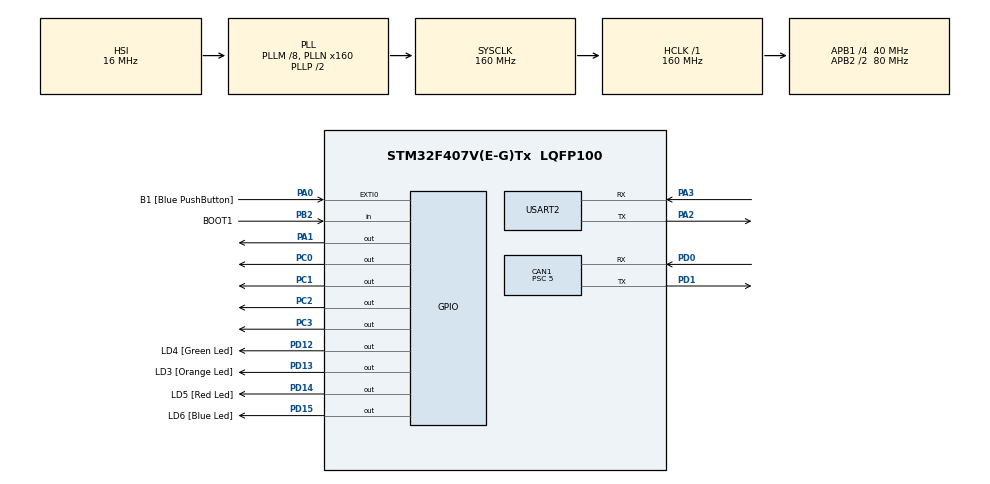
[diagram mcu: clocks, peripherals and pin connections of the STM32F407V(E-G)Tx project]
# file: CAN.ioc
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CAN1.ABOM=ENABLE
CAN1.BS1=CAN_BS1_13TQ
CAN1.BS2=CAN_BS2_2TQ
CAN1.CalculateBaudRate=500000
CAN1.CalculateTimeBit=2000
CAN1.CalculateTimeQuantum=125.0
CAN1.Prescaler=5
CAN1.TXFP=ENABLE
Mcu.Family=STM32F4
Mcu.Name=STM32F407V(E-G)Tx
Mcu.Package=LQFP100
NVIC.CAN1_RX0_IRQn=true\:0\:0\:false\:false\:true\:true\:true\:true
NVIC.PriorityGroup=NVIC_PRIORITYGROUP_0
NVIC.USART2_IRQn=true\:0\:0\:false\:false\:true\:true\:true\:true
PA0-WKUP.GPIO_Label=B1 [Blue PushButton]
PA0-WKUP.GPIO_ModeDefaultEXTI=GPIO_MODE_EVT_RISING
PA0-WKUP.GPIO_PuPd=GPIO_NOPULL
PA0-WKUP.Signal=GPXTI0
PA1.Signal=GPIO_Output
PA13.GPIO_Label=SWDIO
PA13.Mode=Serial_Wire
PA13.Signal=SYS_JTMS-SWDIO
PA14.GPIO_Label=SWCLK
PA14.Mode=Serial_Wire
PA14.Signal=SYS_JTCK-SWCLK
PA2.Mode=Asynchronous
PA2.Signal=USART2_TX
PA3.Mode=Asynchronous
PA3.Signal=USART2_RX
PB2.GPIO_Label=BOOT1
PB2.GPIO_Mode=GPIO_MODE_INPUT
PB2.GPIO_PuPd=GPIO_NOPULL
PB2.Signal=GPIO_Input
PC0.Signal=GPIO_Output
PC1.Signal=GPIO_Output
PC2.Signal=GPIO_Output
PC3.Signal=GPIO_Output
PD0.Mode=CAN_Activate
PD0.Signal=CAN1_RX
PD1.Mode=CAN_Activate
PD1.Signal=CAN1_TX
PD12.GPIO_Label=LD4 [Green Led]
PD12.GPIO_PuPd=GPIO_NOPULL
PD12.GPIO_Speed=GPIO_SPEED_FREQ_LOW
PD12.Signal=GPIO_Output
PD13.GPIO_Label=LD3 [Orange Led]
PD13.GPIO_PuPd=GPIO_NOPULL
PD13.GPIO_Speed=GPIO_SPEED_FREQ_LOW
PD13.Signal=GPIO_Output
PD14.GPIO_Label=LD5 [Red Led]
PD14.GPIO_PuPd=GPIO_NOPULL
PD14.GPIO_Speed=GPIO_SPEED_FREQ_LOW
PD14.Signal=GPIO_Output
PD15.GPIO_Label=LD6 [Blue Led]
PD15.GPIO_PuPd=GPIO_NOPULL
PD15.GPIO_Speed=GPIO_SPEED_FREQ_LOW
PD15.Signal=GPIO_Output
ProjectManager.HeapSize=0x2000
ProjectManager.StackSize=0x4000
ProjectManager.TargetToolchain=CMake
RCC.48MHZClocksFreq_Value=45714285.71428572
RCC.AHBFreq_Value=160000000
RCC.APB1CLKDivider=RCC_HCLK_DIV4
RCC.APB1Freq_Value=40000000
RCC.APB1TimFreq_Value=80000000
RCC.APB2CLKDivider=RCC_HCLK_DIV2
RCC.APB2Freq_Value=80000000
RCC.APB2TimFreq_Value=160000000
RCC.CortexFreq_Value=160000000
RCC.HCLKFreq_Value=160000000
RCC.HSE_VALUE=8000000
RCC.HSI_VALUE=16000000
RCC.LSE_VALUE=32768
RCC.PLLM=8
RCC.PLLN=160
RCC.PLLQ=7
RCC.SYSCLKFreq_VALUE=160000000
RCC.SYSCLKSource=RCC_SYSCLKSOURCE_PLLCLK
RCC.VCOOutputFreq_Value=320000000
USART2.VirtualMode=VM_ASYNC
board=STM32F407G-DISC1

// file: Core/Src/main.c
/* USER CODE BEGIN Header */
/**
  ******************************************************************************
  * @file           : main.c
  * @brief          : Main program body
  ******************************************************************************
  * @attention
  *
  * Copyright (c) 2025 STMicroelectronics.
  * All rights reserved.
  *
  * This software is licensed under terms that can be found in the LICENSE file
  * in the root directory of this software component.
  * If no LICENSE file comes with this software, it is provided AS-IS.
  *
  ******************************************************************************
  */
/* USER CODE END Header */
#include "main.h"

/* USER CODE BEGIN Includes */
#include "cli.h"
#include "vesc.h"
/* USER CODE END Includes */

/* USER CODE BEGIN PTD */
#define R 340

#define HeadLight 0
#define Stop 1
#define Reverse 2
#define Buzzer 3
#define Mayak 4

/* USER CODE END PTD */

CAN_HandleTypeDef hcan1;

UART_HandleTypeDef huart2;

void SystemClock_Config(void);
static void MX_GPIO_Init(void);
static void MX_CAN1_Init(void);
static void MX_USART2_UART_Init(void);
/* USER CODE BEGIN PFP */
/*---------------------- Init CAN-----------------------*/

CAN_TxHeaderTypeDef TxHeader;
CAN_RxHeaderTypeDef RxHeader;

uint8_t TxBufCan[8];
uint8_t RxBufCan[16];
uint32_t TxMailbox = 0;

CAN_FilterTypeDef  sFilterConfig;

/*-----------------------------*/
CliType cli;
QueryType query;
uint8_t DataInput[256];
uint8_t DataOutput[256];
uint8_t DataInUart;//переменная для приема байта по UART

uint8_t Transmit(uint8_t* Data, uint8_t len) {
  HAL_UART_Transmit(&huart2, Data, len, len*5);
}

CmdType cmd[] = {{"hello", HelloWorld}
                ,{"set_vesc_id", SetVescID}
                ,{"set_vesc_erpm", SetVescERPM}
                ,{"set_motor_speed", SetSpeedWheel}
                ,{"vel", SetBodyVel}
                ,{"alarm", SetLedsAndAlarm}
};

uint8_t HelloWorld(int32_t* Pars) {
  HAL_GPIO_TogglePin(LD4_GPIO_Port, LD4_Pin);
  print(&cli, "Hello World!!! My params is %d", *Pars);
  }

  uint8_t VescID[6];
  int16_t VescERPM[6];
  int8_t VescDir[6];

uint8_t SetVescID(int32_t* Pars) {
  VescID[Pars[0]] = (uint8_t)Pars[1];
  print(&cli, "Setted VESC ID %d", VescID);
}

uint8_t SetVescERPM(int32_t* Pars) {
  VescERPM[Pars[0]] = (int16_t)Pars[1];
  print(&cli, "Setted VESC ERPM %d", VescERPM);
}

uint8_t SetBodyVel(int32_t* Pars) {
  int32_t Data[4];
  for(uint8_t i = 0; i < 3; i++) {
    Data[0] = i;
    Data[1] = Pars[0] + Pars[1];
    SetSpeedWheel(Data);
  }
  for(uint8_t i = 3; i < 6; i++) {
    Data[0] = i;
    Data[1] = Pars[0] - Pars[1];
    SetSpeedWheel(Data);
  }
}

uint8_t SetSpeedWheel(int32_t* Pars) {
  VescERPM[Pars[0]] = (int16_t)(Pars[1] * 1.67467);
  print(&cli, "Setted speed for motor %d of %d", Pars[0], VescERPM[Pars[0]]);
}
uint8_t SetLedsAndAlarm(int32_t* Pars) {
  HAL_GPIO_WritePin(GPIOC, GPIO_PIN_0, (Pars[0] & (1 << Mayak)) >> Mayak);
  HAL_GPIO_WritePin(GPIOC, GPIO_PIN_1, (Pars[0] & (1 << Buzzer)) >> Buzzer);
  HAL_GPIO_WritePin(GPIOC, GPIO_PIN_2, (Pars[0] & (1 << Stop)) >> Stop);
  HAL_GPIO_WritePin(GPIOC, GPIO_PIN_3, (Pars[0] & (1 << HeadLight)) >> HeadLight);
  HAL_GPIO_WritePin(GPIOA, GPIO_PIN_1, (Pars[0] & (1 << Reverse)) >> Reverse);

  print(&cli, "Leds setted: %d %d %d %d %d", (Pars[0] & (1 << HeadLight)) >> HeadLight, (Pars[0] & (1 << Stop)) >> Stop, (Pars[0] & (1 << Reverse)) >> Reverse, (Pars[0] & (1 << Buzzer)) >> Buzzer, (Pars[0] & (1 << Mayak)) >> Mayak);
}

can_vesc_t can_vesc_bus = {CanVescTransmit};

void CanVescTransmit(uint32_t id, const uint8_t *data, uint8_t len) {
  TxHeader.ExtId = id;
  while(HAL_CAN_GetTxMailboxesFreeLevel(&hcan1) == 0);
  HAL_CAN_AddTxMessage(&hcan1, &TxHeader, data, &TxMailbox);
}
/* USER CODE END PFP */

int main(void)
{

  /* MCU Configuration--------------------------------------------------------*/

  /* Reset of all peripherals, Initializes the Flash interface and the Systick. */
  HAL_Init();

  /* Configure the system clock */
  SystemClock_Config();

  /* Initialize all configured peripherals */
  MX_GPIO_Init();
  MX_CAN1_Init();
  MX_USART2_UART_Init();
  /* USER CODE BEGIN 2 */

  cli.transmit = Transmit;
cli.InputCnt = DataInput;
cli.OutputCnt = DataOutput;
cli.Cmds = cmd;
cli.flag |= echo;
cli.query = &query;
cli.LengthQuery = 256;
cli.Ncmd = sizeof(cmd) / sizeof(cmd[0]);

HAL_UART_Receive_IT(&huart2, &DataInUart, 1);

  /*----------------- Setting CAN -----------------*/
 //can_transmit_eid = CanVescTransmit;
 TxHeader.StdId = 0x117;
 TxHeader.ExtId = 0x117;
 TxHeader.IDE = CAN_ID_EXT;
 TxHeader.RTR = CAN_RTR_DATA;
 TxHeader.DLC = 4;
 TxHeader.TransmitGlobalTime = DISABLE;

 sFilterConfig.FilterBank = 0;
 sFilterConfig.FilterMode = CAN_FILTERMODE_IDLIST;
 sFilterConfig.FilterScale = CAN_FILTERSCALE_32BIT;
 sFilterConfig.FilterIdHigh = (uint16_t)(0x00000917 >> 13);
 sFilterConfig.FilterIdLow = (uint16_t)(0x00000917 << 3) | 0x04;
 sFilterConfig.FilterMaskIdHigh = 0x0000;
 sFilterConfig.FilterMaskIdLow = 0x0000;
 sFilterConfig.FilterFIFOAssignment = CAN_RX_FIFO0;
 sFilterConfig.FilterActivation = ENABLE;
 //sFilterConfig.SlaveStartFilterBank = 14;

 TxBufCan[0] = 1;
 TxBufCan[1] = 2;
 TxBufCan[2] = 3;
 TxBufCan[3] = 4;

 HAL_CAN_ConfigFilter(&hcan1, &sFilterConfig);

 HAL_CAN_Start(&hcan1);
 //HAL_CAN_ActivateNotification(&hcan1, CAN_IT_RX_FIFO0_MSG_PENDING);
 VescID[0] = 11;
 VescID[1] = 10;
 VescID[2] = 12;
 VescID[3] = 14;
 VescID[4] = 15;
 VescID[5] = 16;

 VescERPM[0] = 0;
 VescERPM[1] = 0;
 VescERPM[2] = 0;
 VescERPM[3] = 0;
 VescERPM[4] = 0;
 VescERPM[5] = 0;

 VescDir[0] = 1;
 VescDir[1] = -1;
 VescDir[2] = -1;
 VescDir[3] = 1;
 VescDir[4] = -1;
 VescDir[5] = 1;

 HAL_GPIO_WritePin(GPIOC, GPIO_PIN_0, 0);
 HAL_GPIO_WritePin(GPIOC, GPIO_PIN_1, 0);
 HAL_GPIO_WritePin(GPIOC, GPIO_PIN_2, 0);
 HAL_GPIO_WritePin(GPIOC, GPIO_PIN_3, 0);
 HAL_GPIO_WritePin(GPIOA, GPIO_PIN_1, 0);

 HAL_GPIO_WritePin(GPIOC, GPIO_PIN_1, 1);
 HAL_Delay(150);
 HAL_GPIO_WritePin(GPIOC, GPIO_PIN_1, 0);
 HAL_Delay(200);
 HAL_GPIO_WritePin(GPIOC, GPIO_PIN_1, 1);
 HAL_Delay(150);
 HAL_GPIO_WritePin(GPIOC, GPIO_PIN_1, 0);

  /* USER CODE END 2 */

  /* Infinite loop */
  /* USER CODE BEGIN WHILE */
  while (1)
  {
    HAL_Delay(20);

    // while(HAL_CAN_GetTxMailboxesFreeLevel(&hcan1) == 0);
    // HAL_CAN_AddTxMessage(&hcan1, &TxHeader, TxBufCan, &TxMailbox);
    for(uint8_t i = 0; i < 6; i++) {
      comm_can_set_rpm(VescID[i], VescERPM[i] * VescDir[i], &can_vesc_bus);
    }
    comm_can_set_rpm(VescID[0], VescERPM[0], &can_vesc_bus);
    if((cli.flag & busy) != 0) {
      CMDProcessing(&cli);
      cli.flag &= ~busy;
    }

    /* USER CODE END WHILE */

  }
}

void SystemClock_Config(void)
{
  RCC_OscInitTypeDef RCC_OscInitStruct = {0};
  RCC_ClkInitTypeDef RCC_ClkInitStruct = {0};

  /** Configure the main internal regulator output voltage
  */
  __HAL_RCC_PWR_CLK_ENABLE();
  __HAL_PWR_VOLTAGESCALING_CONFIG(PWR_REGULATOR_VOLTAGE_SCALE1);

  /** Initializes the RCC Oscillators according to the specified parameters
  * in the RCC_OscInitTypeDef structure.
  */
  RCC_OscInitStruct.OscillatorType = RCC_OSCILLATORTYPE_HSI;
  RCC_OscInitStruct.HSIState = RCC_HSI_ON;
  RCC_OscInitStruct.HSICalibrationValue = RCC_HSICALIBRATION_DEFAULT;
  RCC_OscInitStruct.PLL.PLLState = RCC_PLL_ON;
  RCC_OscInitStruct.PLL.PLLSource = RCC_PLLSOURCE_HSI;
  RCC_OscInitStruct.PLL.PLLM = 8;
  RCC_OscInitStruct.PLL.PLLN = 160;
  RCC_OscInitStruct.PLL.PLLP = RCC_PLLP_DIV2;
  RCC_OscInitStruct.PLL.PLLQ = 7;
  if (HAL_RCC_OscConfig(&RCC_OscInitStruct) != HAL_OK)
  {
    Error_Handler();
  }

  /** Initializes the CPU, AHB and APB buses clocks
  */
  RCC_ClkInitStruct.ClockType = RCC_CLOCKTYPE_HCLK|RCC_CLOCKTYPE_SYSCLK
                              |RCC_CLOCKTYPE_PCLK1|RCC_CLOCKTYPE_PCLK2;
  RCC_ClkInitStruct.SYSCLKSource = RCC_SYSCLKSOURCE_PLLCLK;
  RCC_ClkInitStruct.AHBCLKDivider = RCC_SYSCLK_DIV1;
  RCC_ClkInitStruct.APB1CLKDivider = RCC_HCLK_DIV4;
  RCC_ClkInitStruct.APB2CLKDivider = RCC_HCLK_DIV2;

  if (HAL_RCC_ClockConfig(&RCC_ClkInitStruct, FLASH_LATENCY_5) != HAL_OK)
  {
    Error_Handler();
  }
}

static void MX_CAN1_Init(void)
{

  hcan1.Instance = CAN1;
  hcan1.Init.Prescaler = 5;
  hcan1.Init.Mode = CAN_MODE_NORMAL;
  hcan1.Init.SyncJumpWidth = CAN_SJW_1TQ;
  hcan1.Init.TimeSeg1 = CAN_BS1_13TQ;
  hcan1.Init.TimeSeg2 = CAN_BS2_2TQ;
  hcan1.Init.TimeTriggeredMode = DISABLE;
  hcan1.Init.AutoBusOff = ENABLE;
  hcan1.Init.AutoWakeUp = DISABLE;
  hcan1.Init.AutoRetransmission = DISABLE;
  hcan1.Init.ReceiveFifoLocked = DISABLE;
  hcan1.Init.TransmitFifoPriority = ENABLE;
  if (HAL_CAN_Init(&hcan1) != HAL_OK)
  {
    Error_Handler();
  }

}

static void MX_USART2_UART_Init(void)
{

  huart2.Instance = USART2;
  huart2.Init.BaudRate = 115200;
  huart2.Init.WordLength = UART_WORDLENGTH_8B;
  huart2.Init.StopBits = UART_STOPBITS_1;
  huart2.Init.Parity = UART_PARITY_NONE;
  huart2.Init.Mode = UART_MODE_TX_RX;
  huart2.Init.HwFlowCtl = UART_HWCONTROL_NONE;
  huart2.Init.OverSampling = UART_OVERSAMPLING_16;
  if (HAL_UART_Init(&huart2) != HAL_OK)
  {
    Error_Handler();
  }

}

static void MX_GPIO_Init(void)
{
  GPIO_InitTypeDef GPIO_InitStruct = {0};

  /* GPIO Ports Clock Enable */
  __HAL_RCC_GPIOC_CLK_ENABLE();
  __HAL_RCC_GPIOA_CLK_ENABLE();
  __HAL_RCC_GPIOB_CLK_ENABLE();
  __HAL_RCC_GPIOD_CLK_ENABLE();

  /*Configure GPIO pin Output Level */
  HAL_GPIO_WritePin(GPIOC, GPIO_PIN_0|GPIO_PIN_1|GPIO_PIN_2|GPIO_PIN_3, GPIO_PIN_RESET);

  /*Configure GPIO pin Output Level */
  HAL_GPIO_WritePin(GPIOA, GPIO_PIN_1, GPIO_PIN_RESET);

  /*Configure GPIO pin Output Level */
  HAL_GPIO_WritePin(GPIOD, LD4_Pin|LD3_Pin|LD5_Pin|LD6_Pin, GPIO_PIN_RESET);

  /*Configure GPIO pins : PC0 PC1 PC2 PC3 */
  GPIO_InitStruct.Pin = GPIO_PIN_0|GPIO_PIN_1|GPIO_PIN_2|GPIO_PIN_3;
  GPIO_InitStruct.Mode = GPIO_MODE_OUTPUT_PP;
  GPIO_InitStruct.Pull = GPIO_NOPULL;
  GPIO_InitStruct.Speed = GPIO_SPEED_FREQ_LOW;
  HAL_GPIO_Init(GPIOC, &GPIO_InitStruct);

  /*Configure GPIO pin : B1_Pin */
  GPIO_InitStruct.Pin = B1_Pin;
  GPIO_InitStruct.Mode = GPIO_MODE_EVT_RISING;
  GPIO_InitStruct.Pull = GPIO_NOPULL;
  HAL_GPIO_Init(B1_GPIO_Port, &GPIO_InitStruct);

  /*Configure GPIO pin : PA1 */
  GPIO_InitStruct.Pin = GPIO_PIN_1;
  GPIO_InitStruct.Mode = GPIO_MODE_OUTPUT_PP;
  GPIO_InitStruct.Pull = GPIO_NOPULL;
  GPIO_InitStruct.Speed = GPIO_SPEED_FREQ_LOW;
  HAL_GPIO_Init(GPIOA, &GPIO_InitStruct);

  /*Configure GPIO pin : BOOT1_Pin */
  GPIO_InitStruct.Pin = BOOT1_Pin;
  GPIO_InitStruct.Mode = GPIO_MODE_INPUT;
  GPIO_InitStruct.Pull = GPIO_NOPULL;
  HAL_GPIO_Init(BOOT1_GPIO_Port, &GPIO_InitStruct);

  /*Configure GPIO pins : LD4_Pin LD3_Pin LD5_Pin LD6_Pin */
  GPIO_InitStruct.Pin = LD4_Pin|LD3_Pin|LD5_Pin|LD6_Pin;
  GPIO_InitStruct.Mode = GPIO_MODE_OUTPUT_PP;
  GPIO_InitStruct.Pull = GPIO_NOPULL;
  GPIO_InitStruct.Speed = GPIO_SPEED_FREQ_LOW;
  HAL_GPIO_Init(GPIOD, &GPIO_InitStruct);

}

/* USER CODE BEGIN 4 */
void HAL_UART_RxCpltCallback (UART_HandleTypeDef * huart) {
  //if(huart->Instance == USART1) {
    ProcessingInputData(&cli, DataInUart);
    HAL_UART_Receive_IT(&huart2, &DataInUart, 1);
  //}
}

void HAL_CAN_RxFifo0MsgPendingCallback(CAN_HandleTypeDef *hcan)
{
    // if(HAL_CAN_GetRxMessage(hcan, CAN_RX_FIFO0, &RxHeader, RxBufCan) == HAL_OK)
    // {
    //   print(&cli, "ERPM %d  Current %d Duty %d", (int32_t)(RxBufCan[0]<<32+RxBufCan[1]<<16+RxBufCan[2]<<8+RxBufCan[3]), (int16_t)(RxBufCan[4]<<8+RxBufCan[5]), (int16_t)(RxBufCan[6]<<8+RxBufCan[7]));
    //    // HAL_GPIO_TogglePin(GPIOC, GPIO_PIN_13);
    // }
}
/* USER CODE END 4 */

void Error_Handler(void)
{
  __disable_irq();
  while (1)
  {
  }
}
